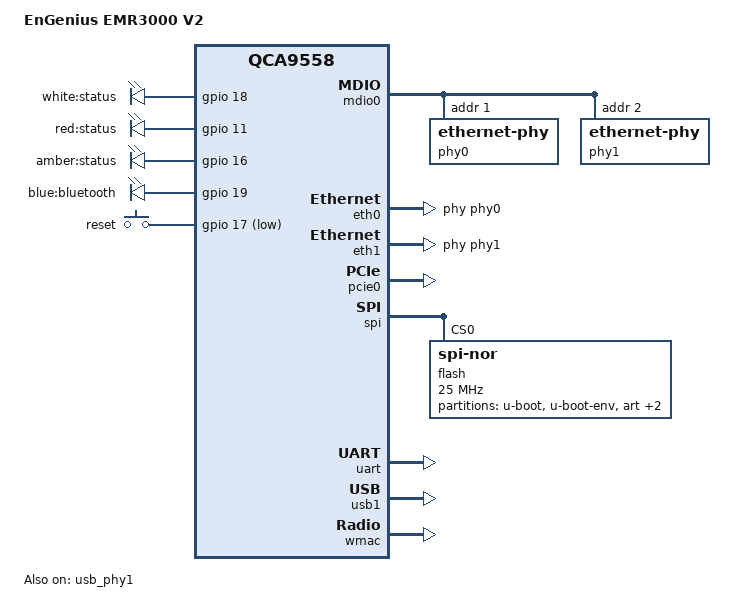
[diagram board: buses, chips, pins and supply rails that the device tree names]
// SPDX-License-Identifier: GPL-2.0-or-later OR MIT

#include "qca955x.dtsi"

#include <dt-bindings/gpio/gpio.h>
#include <dt-bindings/input/input.h>

/ {
	model = "EnGenius EMR3000 V2";
	compatible = "engenius,emr3000-v2", "qca,qca9558";

	aliases {
		led-boot = &led_status_white;
		led-failsafe = &led_status_white;
		led-running = &led_status_white;
		led-upgrade = &led_status_white;
	};

	leds {
		compatible = "gpio-leds";

		led_status_white: status_white {
			label = "white:status";
			gpios = <&gpio 18 GPIO_ACTIVE_HIGH>;
			default-state = "on";
		};

		status_red {
			label = "red:status";
			gpios = <&gpio 11 GPIO_ACTIVE_HIGH>;
		};

		status_amber {
			label = "amber:status";
			gpios = <&gpio 16 GPIO_ACTIVE_HIGH>;
		};

		bluetooth {
			label = "blue:bluetooth";
			gpios = <&gpio 19 GPIO_ACTIVE_HIGH>;
		};
	};

	keys {
		compatible = "gpio-keys";

		reset {
			label = "reset";
			linux,code = <KEY_RESTART>;
			gpios = <&gpio 17 GPIO_ACTIVE_LOW>;
		};
	};
};

&mdio0 {
	status = "okay";

	phy0: ethernet-phy@0 {
		reg = <1>;
		phy-mode = "rgmii";
	};

	phy1: ethernet-phy@1 {
		reg = <2>;
		phy-mode = "sgmii";
		at803x-override-sgmii-link-check;
	};
};

&eth0 {
	status = "okay";

	phy-handle = <&phy0>;
	pll-data = <0x9a000000 0x80000101 0x80001313>;

	gmac-config {
		device = <&gmac>;
		rgmii-enabled = <1>;
	};
};

&eth1 {
	status = "okay";

	phy-handle = <&phy1>;
	pll-data = <0x9b000000 0x80000101 0x80001313>;
	qca955x-sgmii-fixup;
};

&pcie0 {
	status = "okay";
};

&spi {
	status = "okay";

	flash@0 {
		compatible = "jedec,spi-nor";
		reg = <0>;
		spi-max-frequency = <25000000>;

		partitions {
			compatible = "fixed-partitions";
			#address-cells = <1>;
			#size-cells = <1>;

			partition@0 {
				label = "u-boot";
				reg = <0x000000 0x040000>;
				read-only;
			};

			partition@40000 {
				label = "u-boot-env";
				reg = <0x040000 0x010000>;
			};

			art: partition@50000 {
				label = "art";
				reg = <0x050000 0x010000>;
				read-only;
			};

			partition@60000 {
				compatible = "denx,uimage";
				label = "firmware";
				reg = <0x060000 0x1f50000>;
			};

			partition@1fb0000 {
				label = "userconfig";
				reg = <0x1fb0000 0x050000>;
				read-only;
			};
		};
	};
};

&uart {
	status = "okay";
};

&usb_phy1 {
	status = "okay";
};

&usb1 {
	status = "okay";
};

&wmac {
	status = "okay";

	qca,no-eeprom;
};
